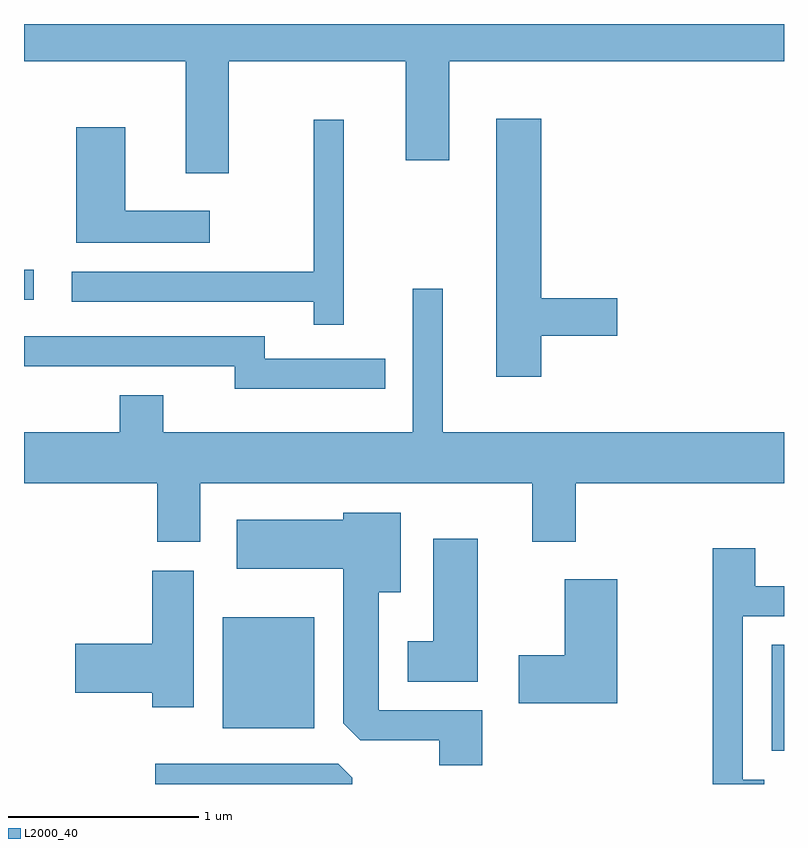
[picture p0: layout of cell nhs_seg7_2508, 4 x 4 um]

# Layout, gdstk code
import gdstk
lib = gdstk.Library(unit=1e-6, precision=1e-09)
def R(c, l, rs):  # rectangles x0, y0, x1, y1
    for r in rs: c.add(gdstk.rectangle(r[:2], r[2:], *l))
def P(c, l, *ps):  # polygons
    for p in ps: c.add(gdstk.Polygon(p, *l))
L2000_40 = (2000, 40)

nhs_seg7_2508 = lib.new_cell('nhs_seg7_2508')
R(nhs_seg7_2508, L2000_40, [(265.546,1748.426,265.611,1748.984), (262.656,1748.546,263.139,1749.129), (261.611,1750.801,261.663,1750.959)])
P(nhs_seg7_2508, L2000_40, [(262.689,1752.056),(263.621,1752.056),(263.621,1751.536),(263.849,1751.536),(263.849,1752.056),(265.611,1752.056),(265.611,1752.252),(261.611,1752.252),(261.611,1752.056),(262.461,1752.056),(262.461,1751.466),(262.689,1751.466)],
  [(264.334,1750.611),(264.734,1750.611),(264.734,1750.809),(264.334,1750.809),(264.334,1751.754),(264.096,1751.754),(264.096,1750.396),(264.334,1750.396)],
  [(263.294,1751.748),(263.136,1751.748),(263.136,1750.949),(261.863,1750.949),(261.863,1750.791),(263.136,1750.791),(263.136,1750.668),(263.294,1750.668)],
  [(262.588,1751.269),(262.144,1751.269),(262.144,1751.709),(261.886,1751.709),(261.886,1751.101),(262.588,1751.101)],
  [(262.539,1749.836),(264.286,1749.836),(264.286,1749.526),(264.514,1749.526),(264.514,1749.836),(265.611,1749.836),(265.611,1750.104),(263.814,1750.104),(263.814,1750.858),(263.656,1750.858),(263.656,1750.104),(262.344,1750.104),(262.344,1750.299),(262.116,1750.299),(262.116,1750.104),(261.611,1750.104),(261.611,1749.836),(262.311,1749.836),(262.311,1749.526),(262.539,1749.526)],
  [(263.513,1750.489),(262.879,1750.489),(262.879,1750.609),(261.611,1750.609),(261.611,1750.451),(262.721,1750.451),(262.721,1750.331),(263.513,1750.331)],
  [(264.024,1748.639),(263.479,1748.639),(263.479,1749.261),(263.594,1749.261),(263.594,1749.679),(263.291,1749.679),(263.291,1749.644),(262.731,1749.644),(262.731,1749.386),(263.291,1749.386),(263.291,1748.572),(263.382,1748.481),(263.796,1748.481),(263.796,1748.351),(264.024,1748.351)],
  [(263.999,1749.544),(263.766,1749.544),(263.766,1749.004),(263.631,1749.004),(263.631,1748.791),(263.999,1748.791)],
  [(265.508,1748.274),(265.394,1748.274),(265.394,1749.136),(265.611,1749.136),(265.611,1749.294),(265.459,1749.294),(265.459,1749.494),(265.236,1749.494),(265.236,1748.252),(265.508,1748.252)],
  [(262.504,1749.374),(262.286,1749.374),(262.286,1748.989),(261.881,1748.989),(261.881,1748.731),(262.286,1748.731),(262.286,1748.656),(262.504,1748.656)],
  [(264.734,1749.329),(264.456,1749.329),(264.456,1748.929),(264.216,1748.929),(264.216,1748.676),(264.734,1748.676)],
  [(263.339,1748.284),(263.264,1748.359),(262.303,1748.359),(262.303,1748.252),(263.339,1748.252)])

lib.write_gds('nhs_seg7_2508.gds')
